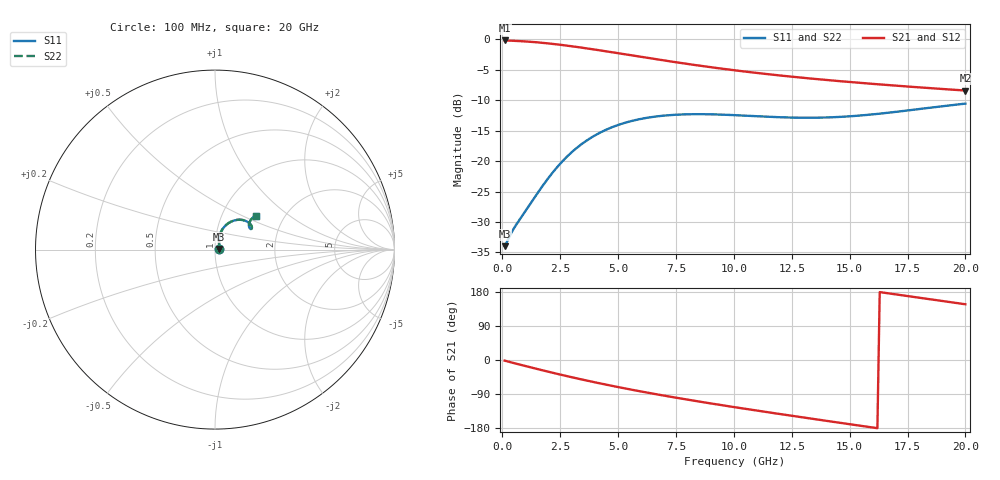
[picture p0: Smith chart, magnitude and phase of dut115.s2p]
! Touchstone file exported from HFSS 2024.1.0
!  File:  C:/UserFiles/LocalFiles/RDL_TSV_Batchsim/temp_RDL_TSV_115_1779423098.aedt
!  Generated:  12:56:41 PM May 22, 2026
!  Design:  RDL_TSV
!  Project:  temp_RDL_TSV_115_1779423098
!  Setup:  Setup1
!  Solution:  Sweep
! Variables:
!  dtsv = 5.02um
!  hbump = 3um
!  htsv = 90.1um
!  ldown = 610.7um
!  lrdl = 287.61um
!  p = 40
!  p1 = 41.08um
!  rhole = 10um
!  subl = 2982.54um
!  t = 450um
!  tdown = 2.27um
!  trdl = 3.73um
!  viad = 10um
!  wdown = 28.82um
!  wrdl = 14.04um
!  xbump = 18um
# GHz S MA R 50.000000
! Terminal data exported
! Port[1] = TM1_1_T1
! Port[2] = TM1_4_T1
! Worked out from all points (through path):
!   200 points, 100 MHz to 20 GHz, reference 50 ohm
!   highest |S21| = -0.18 dB at 100 MHz (marker M1); lowest = -8.4 dB at 20 GHz (marker M2)
!   group delay of S21, straight-line fit = 28.3 ps
!   lowest |S11| = -34.0 dB at 100 MHz (marker M3), VSWR 1.04, Z = 52 + j0.42 ohm
!   |S11| at or under -10 dB: start of sweep to end of sweep
!   |S22| runs from -34.0 to -10.5 dB; largest |S21 - S12| = 1.3e-14
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0.1  0.02 11.6  0.979 -1.7  0.979 -1.7  0.01997 11.6
! Gamma 0 0 0 0
! Port Impedance 50 0 50 0
0.5  0.02799 37.5  0.9726 -8.1  0.9726 -8.1  0.02788 37.5
1  0.03886 54.4  0.9611 -16.0  0.9611 -16.0  0.03863 54.4
1.4  0.05038 63.7  0.9487 -22.1  0.9487 -22.1  0.05009 63.8
1.9  0.06887 69.9  0.9295 -29.7  0.9295 -29.7  0.06855 70.1
2.3  0.08606 71.6  0.9118 -35.5  0.9118 -35.5  0.08575 71.8
2.7  0.1044 71.2  0.8925 -41.3  0.8925 -41.3  0.1041 71.4
3.5  0.1412 67.2  0.8509 -52.3  0.8509 -52.3  0.141 67.4
4.2  0.1704 62.0  0.8129 -61.5  0.8129 -61.5  0.1703 62.2
5  0.1979 55.6  0.7696 -71.4  0.7696 -71.4  0.198 55.8
5.8  0.2184 49.5  0.7279 -80.9  0.7279 -80.9  0.2185 49.7
6.8  0.2344 42.8  0.6794 -92.0  0.6794 -92.0  0.2347 43.0
7.6  0.2408 38.4  0.6442 -100.5  0.6442 -100.5  0.2412 38.5
8.4  0.2428 34.8  0.6122 -108.7  0.6122 -108.7  0.2433 35.0
9.2  0.2417 32.2  0.5835 -116.5  0.5835 -116.5  0.2422 32.4
10.1  0.2381 30.4  0.5548 -125.1  0.5548 -125.1  0.2387 30.5
11.7  0.2303 29.8  0.5117 -139.9  0.5117 -139.9  0.2311 29.9
13.4  0.227 32.3  0.4749 -155.2  0.4749 -155.2  0.2277 32.3
15  0.2332 35.8  0.4463 -169.4  0.4463 -169.4  0.2339 35.8
16.7  0.2499 39.0  0.4205 175.7  0.4205 175.7  0.2505 38.9
18.3  0.2718 40.2  0.3995 161.7  0.3995 161.7  0.2722 40.1
20  0.2965 39.8  0.3797 147.1  0.3797 147.1  0.2969 39.7
